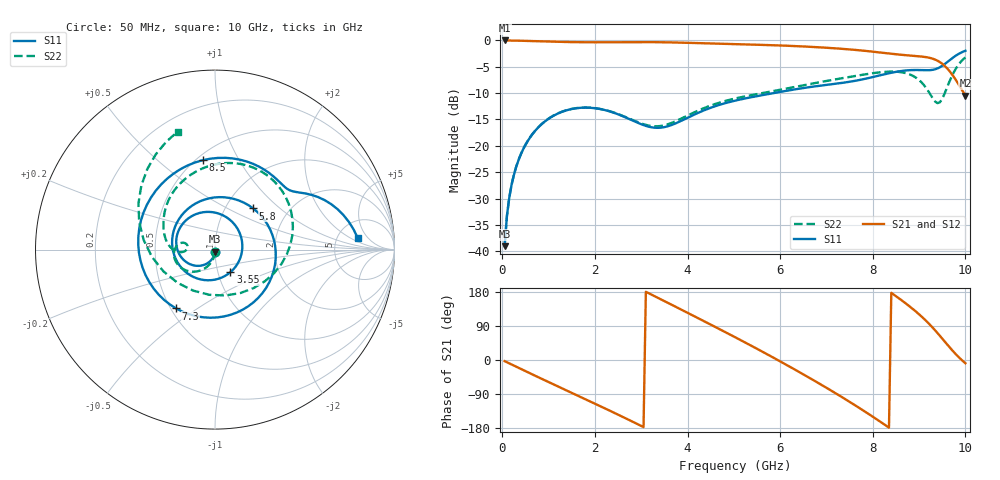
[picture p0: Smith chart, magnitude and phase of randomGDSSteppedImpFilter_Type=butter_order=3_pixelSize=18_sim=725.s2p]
! freq	dB(S11)	phase(S11)	dB(S12)	phase(S12)
!  dB(S21)	phase(S21)	dB(S22)	phase(S22)
!S-par simulation data
#  GHz  S  DB  R 50
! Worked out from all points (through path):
!   200 points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, 50 MHz to 10 GHz, reference 50 ohm
!   highest |S21| = -0.02 dB at 50 MHz (marker M1); lowest = -10.5 dB at 10 GHz (marker M2)
!   group delay of S21, straight-line fit = 190 ps
!   lowest |S11| = -39.0 dB at 50 MHz (marker M3), VSWR 1.02, Z = 50.1 - j1.12 ohm
!   |S11| at or under -10 dB: start of sweep to 5.857 GHz
!   |S22| runs from -39.0 to -3.2 dB; largest |S21 - S12| = 0
!   S11 on the Smith chart (normalised r, x): 50 MHz: 1.00, -0.02; 3.55 GHz: 1.15, -0.30; 5.8 GHz: 1.34, +0.68; 7.3 GHz: 0.53, -0.41; 8.5 GHz: 0.54, +0.72; 10 GHz: 7.78, +2.86
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0.05  -39.03 -86.4  -0.02 -3.0  -0.02 -3.0  -38.99 -85.3
0.1  -33.31 -93.2  -0.02 -5.9  -0.02 -5.9  -33.27 -91.2
0.2  -27.43 -102.3  -0.04 -11.8  -0.04 -11.8  -27.38 -98.2
0.5  -19.83 -124.7  -0.09 -29.4  -0.09 -29.4  -19.79 -114.1
1.15  -14.08 -170.5  -0.26 -66.8  -0.26 -66.8  -14.05 -144.2
1.75  -12.76 145.4  -0.36 -100.9  -0.36 -100.9  -12.74 -168.4
2.65  -14.56 65.3  -0.34 -153.0  -0.34 -153.0  -14.49 168.3
3.4  -16.57 -33.5  -0.35 161.7  -0.35 161.7  -16.25 177.0
3.55  -16.35 -55.5  -0.37 152.4  -0.37 152.4  -15.98 -179.6
4.3  -13.47 -150.6  -0.54 105.9  -0.54 105.9  -13.05 -178.3
5.05  -11.38 128.8  -0.73 58.7  -0.73 58.7  -10.98 167.5
5.8  -10.09 47.1  -0.91 9.8  -0.91 9.8  -9.70 151.3
6.25  -9.39 -3.0  -1.06 -20.6  -1.06 -20.6  -8.94 140.7
6.7  -8.79 -53.8  -1.25 -51.9  -1.25 -51.9  -8.18 128.5
7.3  -8.11 -123.6  -1.58 -95.3  -1.58 -95.3  -7.23 109.5
7.85  -7.26 170.2  -2.00 -137.6  -2.00 -137.6  -6.43 88.2
8.35  -6.24 113.3  -2.49 -178.5  -2.49 -178.5  -5.93 62.2
8.5  -5.97 97.8  -2.63 168.5  -2.63 168.5  -5.94 52.2
9  -5.63 55.0  -3.03 120.6  -3.03 120.6  -7.53 3.5
9.4  -5.31 36.7  -3.87 70.9  -3.87 70.9  -11.91 -97.0
9.7  -3.49 24.4  -6.32 27.8  -6.32 27.8  -6.93 159.9
10  -1.97 4.8  -10.48 -8.6  -10.48 -8.6  -3.23 107.5
